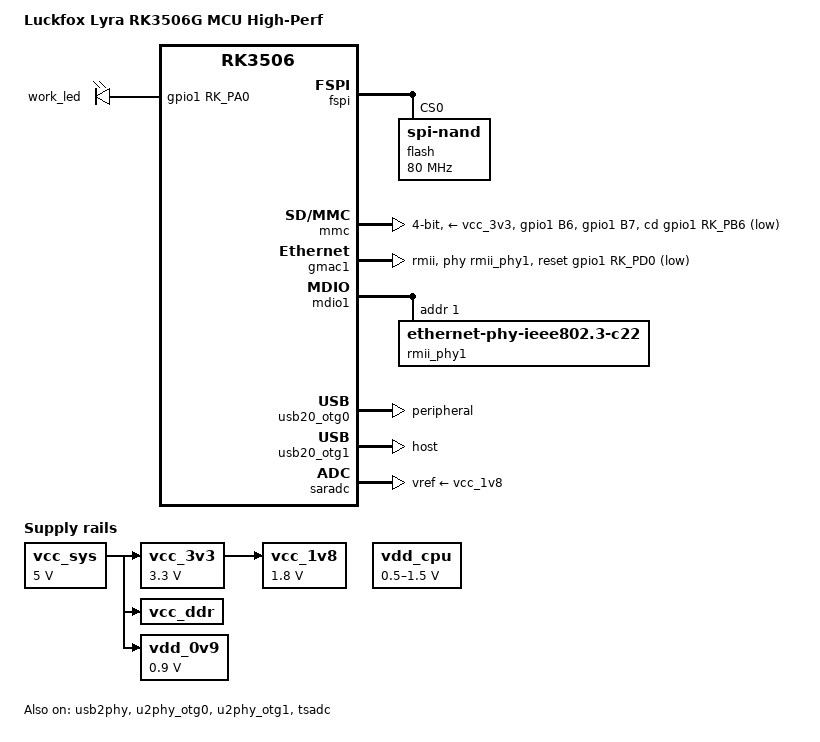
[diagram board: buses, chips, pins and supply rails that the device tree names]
// SPDX-License-Identifier: (GPL-2.0+ OR MIT)
/*
 * Luckfox Lyra RK3506G - MCU-only High-Performance Headless
 *
 * Optimized configuration for maximum Linux resources:
 *   - All 3 Cortex-A7 cores for Linux
 *   - MCU (M0+) handles real-time tasks (DMX512)
 *   - No display subsystem (~32 MB RAM saved)
 *   - No audio subsystem
 *
 * Performance vs stock:
 *   - RAM: ~117 MB available (vs ~80 MB)
 *   - Boot: ~4 seconds (vs ~8 seconds)
 *   - CPUs: 3 cores (vs 2 cores)
 *
 * MCU communication:
 *   /dev/ttyRPMSG0 - bidirectional channel to MCU
 */

/dts-v1/;

#include "rk3506.dtsi"
#include "rk3506-mcu-only.dtsi"

/ {
	model = "Luckfox Lyra RK3506G MCU High-Perf";
	compatible = "rockchip,rk3506g-luckfox-lyra-mcu-only-lite", "rockchip,rk3506";

	chosen {
		bootargs = "earlycon=uart8250,mmio32,0xff0a0000 console=ttyFIQ0 root=ubi0:rootfs ubi.mtd=3 rootfstype=ubifs rootwait";
	};

	/*
	 * Power regulators
	 * Minimal set for headless operation
	 */
	vcc_sys: vcc-sys {
		compatible = "regulator-fixed";
		regulator-name = "vcc_sys";
		regulator-always-on;
		regulator-boot-on;
		regulator-min-microvolt = <5000000>;
		regulator-max-microvolt = <5000000>;
	};

	vcc_3v3: vcc-3v3 {
		compatible = "regulator-fixed";
		regulator-name = "vcc_3v3";
		regulator-always-on;
		regulator-boot-on;
		regulator-min-microvolt = <3300000>;
		regulator-max-microvolt = <3300000>;
		vin-supply = <&vcc_sys>;
	};

	vcc_1v8: vcc-1v8 {
		compatible = "regulator-fixed";
		regulator-name = "vcc_1v8";
		regulator-always-on;
		regulator-boot-on;
		regulator-min-microvolt = <1800000>;
		regulator-max-microvolt = <1800000>;
		vin-supply = <&vcc_3v3>;
	};

	vcc_ddr: vcc-ddr {
		compatible = "regulator-fixed";
		regulator-name = "vcc_ddr";
		regulator-always-on;
		regulator-boot-on;
		vin-supply = <&vcc_sys>;
	};

	vdd_0v9: vdd-0v9 {
		compatible = "regulator-fixed";
		regulator-name = "vdd_0v9";
		regulator-always-on;
		regulator-boot-on;
		regulator-min-microvolt = <900000>;
		regulator-max-microvolt = <900000>;
		vin-supply = <&vcc_sys>;
	};

	vdd_cpu: vdd-cpu {
		compatible = "regulator-fixed";
		regulator-name = "vdd_cpu";
		regulator-boot-on;
		regulator-always-on;
		regulator-min-microvolt = <500000>;
		regulator-max-microvolt = <1500000>;
		vin-supply = <&vdd_cpu>;
	};

	/* Kernel debug console */
	fiq_debugger: fiq-debugger {
		compatible = "rockchip,fiq-debugger";
		rockchip,serial-id = <0>;
		rockchip,wake-irq = <0>;
		rockchip,irq-mode-enable = <1>;
		rockchip,baudrate = <1500000>;
		interrupts = <GIC_SPI 115 IRQ_TYPE_LEVEL_HIGH>;
	};

	/* Status LED - heartbeat */
	leds: leds {
		compatible = "gpio-leds";
		work_led: work-led {
			gpios = <&gpio1 RK_PA0 GPIO_ACTIVE_HIGH>;
			linux,default-trigger = "heartbeat";
		};
	};
};

/*============================================================
 * CPU - All 3 cores for Linux
 *============================================================*/

&cpu0 {
	cpu-supply = <&vdd_cpu>;
	status = "okay";
};

/* CPU1 and CPU2 enabled by default in rk3506.dtsi */

/*============================================================
 * Display - DISABLED (saves ~32 MB)
 *============================================================*/

&cma {
	/* No CMA needed without display */
	size = <0x0>;
};

&display_subsystem {
	status = "disabled";
};

&vop {
	status = "disabled";
};

&dsi {
	status = "disabled";
};

&dsi_dphy {
	status = "disabled";
};

&rga2 {
	status = "disabled";
};

/*============================================================
 * Audio - DISABLED
 *============================================================*/

&sai0 {
	status = "disabled";
};

&sai1 {
	status = "disabled";
};

&sai2 {
	status = "disabled";
};

&sai3 {
	status = "disabled";
};

&acdcdig_dsm {
	status = "disabled";
};

/*============================================================
 * Storage
 *============================================================*/

/* SPI NAND Flash - boot device */
&fspi {
	status = "okay";

	flash@0 {
		compatible = "spi-nand";
		reg = <0>;
		spi-max-frequency = <80000000>;
		spi-rx-bus-width = <4>;
		spi-tx-bus-width = <1>;
	};
};

/* SD Card - optional external storage */
&mmc {
	max-frequency = <52000000>;
	bus-width = <4>;
	no-sdio;
	no-mmc;
	cap-mmc-highspeed;
	cap-sd-highspeed;
	cd-gpios = <&gpio1 RK_PB6 GPIO_ACTIVE_LOW>;
	disable-wp;
	pinctrl-names = "default";
	pinctrl-0 = <&sdmmc_clk_pins &sdmmc_cmd_pins &sdmmc_bus4_pins &sdmmc_det &sdmmc_pwren>;
	vqmmc-supply = <&vcc_3v3>;
	vmmc-supply = <&vcc_3v3>;
	status = "okay";
};

/*============================================================
 * Networking
 *============================================================*/

&gmac1 {
	phy-mode = "rmii";
	clock_in_out = "output";

	snps,reset-gpio = <&gpio1 RK_PD0 GPIO_ACTIVE_LOW>;
	snps,reset-active-low;
	snps,reset-delays-us = <0 20000 100000>;

	pinctrl-names = "default";
	pinctrl-0 = <&eth_rmii1_miim_pins &eth_rmii1_tx_bus2_pins &eth_rmii1_rx_bus2_pins &eth_rmii1_clk_pins>;

	phy-handle = <&rmii_phy1>;
	status = "okay";
};

&mdio1 {
	rmii_phy1: phy@1 {
		compatible = "ethernet-phy-ieee802.3-c22";
		reg = <0x1>;
	};
};

/*============================================================
 * USB
 *============================================================*/

&usb20_otg0 {
	dr_mode = "peripheral";
	status = "okay";
};

&usb20_otg1 {
	dr_mode = "host";
	status = "okay";
};

&usb2phy {
	status = "okay";
};

&u2phy_otg0 {
	status = "okay";
};

&u2phy_otg1 {
	status = "okay";
};

/*============================================================
 * ADC
 *============================================================*/

&saradc {
	vref-supply = <&vcc_1v8>;
	status = "okay";
};

&tsadc {
	status = "okay";
};

/*============================================================
 * Pin Control
 *============================================================*/

&pinctrl {
	sdmmc {
		sdmmc_pwren: sdmmc-pwren {
			rockchip,pins = <1 RK_PB7 RK_FUNC_GPIO &pcfg_pull_down>;
		};

		sdmmc_det: sdmmc-det {
			rockchip,pins = <1 RK_PB6 RK_FUNC_GPIO &pcfg_pull_up>;
		};
	};
};

/*============================================================
 * Available for user configuration:
 *
 * UARTs (UART2/5 reserved for MCU):
 *   &uart1, &uart3, &uart4
 *
 * I2C:
 *   &i2c0, &i2c1, &i2c2
 *
 * SPI:
 *   &spi0, &spi1
 *
 * PWM:
 *   &pwm0, &pwm1, &pwm2
 *
 * Example - enable UART1 on RM_IO0/RM_IO1:
 *
 *   &uart1 {
 *       pinctrl-names = "default";
 *       pinctrl-0 = <&rm_io0_uart1_tx &rm_io1_uart1_rx>;
 *       status = "okay";
 *   };
 *
 * Example - enable I2C0 on RM_IO12/RM_IO13:
 *
 *   &i2c0 {
 *       pinctrl-names = "default";
 *       pinctrl-0 = <&rm_io12_i2c0_sda &rm_io13_i2c0_scl>;
 *       status = "okay";
 *   };
 *============================================================*/
